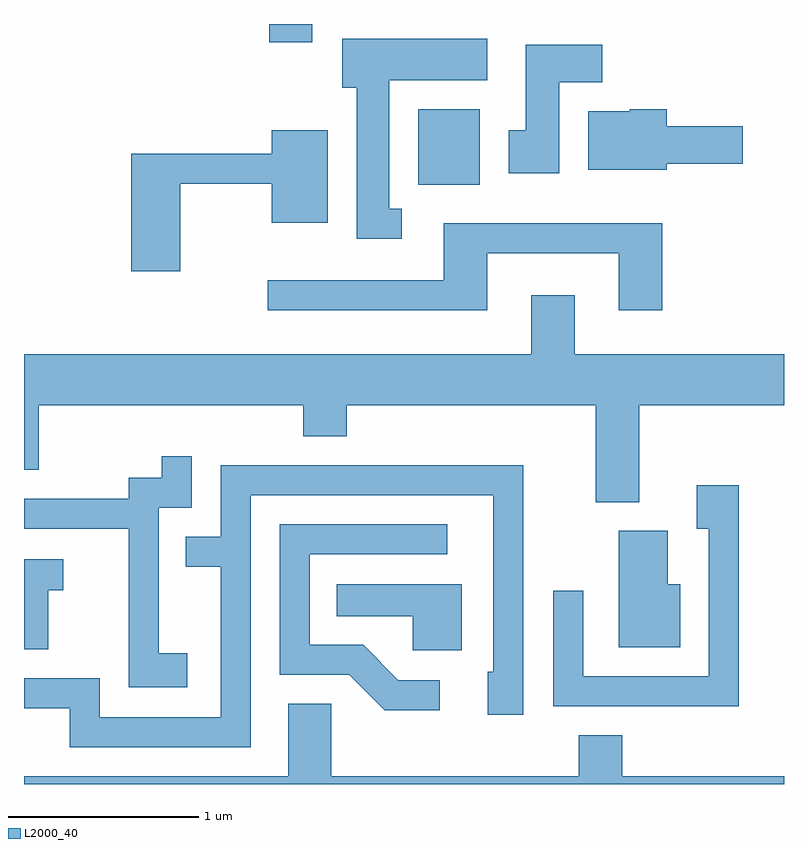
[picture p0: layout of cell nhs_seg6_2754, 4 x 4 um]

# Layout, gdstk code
import gdstk
lib = gdstk.Library(unit=1e-6, precision=1e-09)
def R(c, l, rs):  # rectangles x0, y0, x1, y1
    for r in rs: c.add(gdstk.rectangle(r[:2], r[2:], *l))
def P(c, l, *ps):  # polygons
    for p in ps: c.add(gdstk.Polygon(p, *l))
L2000_40 = (2000, 40)

nhs_seg6_2754 = lib.new_cell('nhs_seg6_2754')
R(nhs_seg6_2754, L2000_40, [(269.686,1653.316,270.009,1653.714), (268.901,1654.066,269.129,1654.162)])
P(nhs_seg6_2754, L2000_40, [(269.598,1653.189),(269.534,1653.189),(269.534,1653.866),(270.049,1653.866),(270.049,1654.084),(269.286,1654.084),(269.286,1653.826),(269.361,1653.826),(269.361,1653.031),(269.598,1653.031)],
  [(270.429,1653.856),(270.654,1653.856),(270.654,1654.054),(270.251,1654.054),(270.251,1653.604),(270.161,1653.604),(270.161,1653.376),(270.429,1653.376)],
  [(270.994,1653.426),(271.394,1653.426),(271.394,1653.624),(270.994,1653.624),(270.994,1653.714),(270.8,1653.714),(270.8,1653.704),(270.581,1653.704),(270.581,1653.396),(270.994,1653.396)],
  [(268.434,1653.321),(268.916,1653.321),(268.916,1653.116),(269.209,1653.116),(269.209,1653.604),(268.916,1653.604),(268.916,1653.479),(268.176,1653.479),(268.176,1652.861),(268.434,1652.861)],
  [(270.049,1652.956),(270.741,1652.956),(270.741,1652.656),(270.969,1652.656),(270.969,1653.114),(269.821,1653.114),(269.821,1652.814),(268.893,1652.814),(268.893,1652.656),(270.049,1652.656)],
  [(270.509,1652.734),(270.281,1652.734),(270.281,1652.424),(267.611,1652.424),(267.611,1651.816),(267.689,1651.816),(267.689,1652.156),(269.081,1652.156),(269.081,1651.991),(269.309,1651.991),(269.309,1652.156),(270.621,1652.156),(270.621,1651.646),(270.849,1651.646),(270.849,1652.156),(271.611,1652.156),(271.611,1652.424),(270.509,1652.424)],
  [(268.469,1650.849),(268.319,1650.849),(268.319,1651.616),(268.494,1651.616),(268.494,1651.888),(268.336,1651.888),(268.336,1651.774),(268.161,1651.774),(268.161,1651.664),(267.611,1651.664),(267.611,1651.506),(268.161,1651.506),(268.161,1650.671),(268.469,1650.671)],
  [(268.804,1651.681),(270.081,1651.681),(270.081,1650.754),(270.051,1650.754),(270.051,1650.526),(270.239,1650.526),(270.239,1651.839),(268.646,1651.839),(268.646,1651.464),(268.463,1651.464),(268.463,1651.306),(268.646,1651.306),(268.646,1650.514),(268.009,1650.514),(268.009,1650.719),(267.611,1650.719),(267.611,1650.561),(267.851,1650.561),(267.851,1650.356),(268.804,1650.356)],
  [(271.374,1651.734),(271.151,1651.734),(271.151,1651.506),(271.216,1651.506),(271.216,1650.729),(270.554,1650.729),(270.554,1651.178),(270.396,1651.178),(270.396,1650.571),(271.374,1650.571)],
  [(269.798,1650.709),(269.582,1650.709),(269.397,1650.894),(269.114,1650.894),(269.114,1651.371),(269.838,1651.371),(269.838,1651.529),(268.956,1651.529),(268.956,1650.736),(269.324,1650.736),(269.509,1650.551),(269.798,1650.551)],
  [(271.064,1651.214),(270.999,1651.214),(270.999,1651.494),(270.741,1651.494),(270.741,1650.881),(271.064,1650.881)],
  [(267.739,1651.181),(267.818,1651.181),(267.818,1651.344),(267.611,1651.344),(267.611,1650.871),(267.739,1650.871)],
  [(269.914,1651.214),(269.258,1651.214),(269.258,1651.046),(269.656,1651.046),(269.656,1650.866),(269.914,1650.866)],
  [(271.611,1650.204),(270.759,1650.204),(270.759,1650.419),(270.531,1650.419),(270.531,1650.204),(269.229,1650.204),(269.229,1650.584),(269.001,1650.584),(269.001,1650.204),(267.611,1650.204),(267.611,1650.162),(271.611,1650.162)])

lib.write_gds('nhs_seg6_2754.gds')
